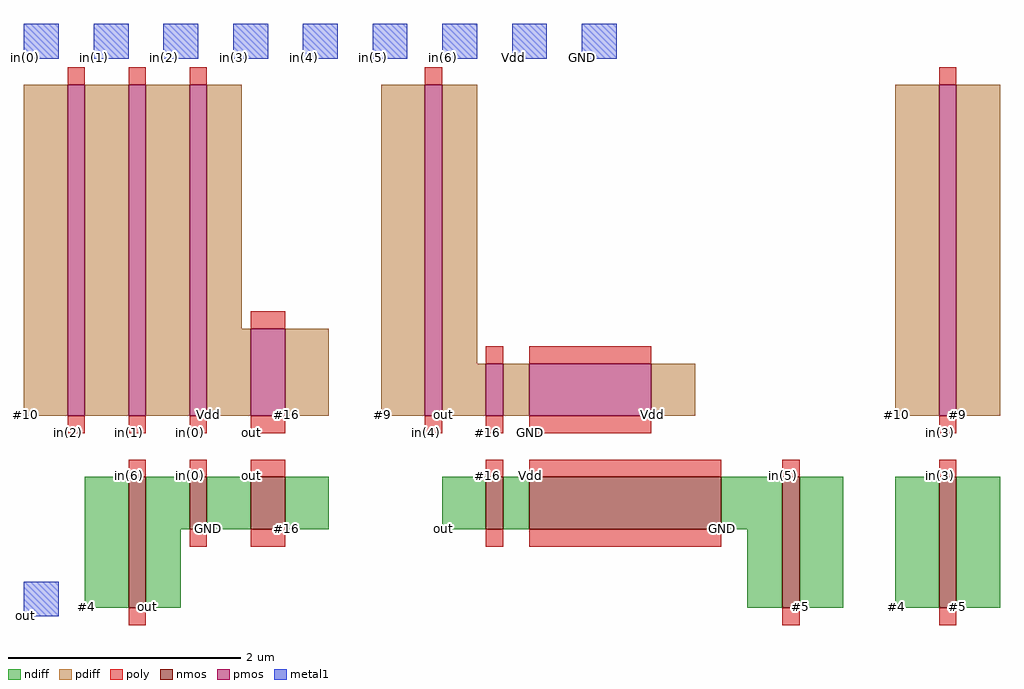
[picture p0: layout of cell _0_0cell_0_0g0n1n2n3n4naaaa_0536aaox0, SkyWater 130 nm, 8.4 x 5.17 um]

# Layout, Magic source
magic
tech sky130A
magscale 1 2
<< nmos >>
rect 300 75 330 300
rect 405 210 435 300
rect 510 210 570 300
rect 915 210 945 300
rect 990 210 1320 300
rect 1425 75 1455 300
rect 1695 75 1725 300
<< pmos >>
rect 195 405 225 975
rect 300 405 330 975
rect 405 405 435 975
rect 510 405 570 555
rect 810 405 840 975
rect 915 405 945 495
rect 990 405 1200 495
rect 1695 405 1725 975
<< ndiff >>
rect 225 75 300 300
rect 330 210 405 300
rect 435 210 510 300
rect 570 210 645 300
rect 840 210 915 300
rect 945 210 990 300
rect 1320 210 1425 300
rect 330 75 390 210
rect 1365 75 1425 210
rect 1455 75 1530 300
rect 1620 75 1695 300
rect 1725 75 1800 300
<< pdiff >>
rect 120 405 195 975
rect 225 405 300 975
rect 330 405 405 975
rect 435 555 495 975
rect 435 405 510 555
rect 570 405 645 555
rect 735 405 810 975
rect 840 495 900 975
rect 840 405 915 495
rect 945 405 990 495
rect 1200 405 1275 495
rect 1620 405 1695 975
rect 1725 405 1800 975
<< poly >>
rect 195 975 225 1005
rect 300 975 330 1005
rect 405 975 435 1005
rect 810 975 840 1005
rect 1695 975 1725 1005
rect 510 555 570 585
rect 915 495 945 525
rect 990 495 1200 525
rect 195 375 225 405
rect 300 375 330 405
rect 405 375 435 405
rect 510 375 570 405
rect 810 375 840 405
rect 915 375 945 405
rect 990 375 1200 405
rect 1695 375 1725 405
rect 300 300 330 330
rect 405 300 435 330
rect 510 300 570 330
rect 915 300 945 330
rect 990 300 1320 330
rect 1425 300 1455 330
rect 1695 300 1725 330
rect 405 180 435 210
rect 510 180 570 210
rect 915 180 945 210
rect 990 180 1320 210
rect 300 45 330 75
rect 1425 45 1455 75
rect 1695 45 1725 75
<< metal1 >>
rect 120 1020 180 1080
rect 240 1020 300 1080
rect 360 1020 420 1080
rect 480 1020 540 1080
rect 600 1020 660 1080
rect 720 1020 780 1080
rect 840 1020 900 1080
rect 960 1020 1020 1080
rect 1080 1020 1140 1080
rect 120 60 180 120
<< labels >>
rlabel ndiff 572 212 572 212 3 #16
rlabel pdiff 572 407 572 407 3 #16
rlabel poly 512 302 512 302 3 out
rlabel ndiff 437 212 437 212 3 GND
rlabel poly 512 377 512 377 3 out
rlabel poly 407 302 407 302 3 in(0)
rlabel pdiff 437 407 437 407 3 Vdd
rlabel poly 407 377 407 377 3 in(0)
rlabel ndiff 332 77 332 77 3 out
rlabel poly 302 302 302 302 3 in(6)
rlabel poly 302 377 302 377 3 in(1)
rlabel ndiff 227 77 227 77 3 #4
rlabel poly 197 377 197 377 3 in(2)
rlabel pdiff 122 407 122 407 3 #10
rlabel poly 1427 302 1427 302 3 in(5)
rlabel pdiff 1202 407 1202 407 3 Vdd
rlabel ndiff 1457 77 1457 77 3 #5
rlabel ndiff 1322 212 1322 212 3 GND
rlabel poly 992 302 992 302 3 Vdd
rlabel poly 992 377 992 377 3 GND
rlabel poly 917 302 917 302 3 #16
rlabel poly 917 377 917 377 3 #16
rlabel ndiff 842 212 842 212 3 out
rlabel pdiff 842 407 842 407 3 out
rlabel poly 812 377 812 377 3 in(4)
rlabel pdiff 737 407 737 407 3 #9
rlabel ndiff 1727 77 1727 77 3 #5
rlabel pdiff 1727 407 1727 407 3 #9
rlabel poly 1697 302 1697 302 3 in(3)
rlabel poly 1697 377 1697 377 3 in(3)
rlabel ndiff 1622 77 1622 77 3 #4
rlabel pdiff 1622 407 1622 407 3 #10
rlabel metal1 1082 1022 1082 1022 3 GND
port 1 e
rlabel metal1 962 1022 962 1022 3 Vdd
port 2 e
rlabel metal1 842 1022 842 1022 3 in(6)
port 3 e
rlabel metal1 722 1022 722 1022 3 in(5)
port 4 e
rlabel metal1 602 1022 602 1022 3 in(4)
port 5 e
rlabel metal1 482 1022 482 1022 3 in(3)
port 6 e
rlabel metal1 362 1022 362 1022 3 in(2)
port 7 e
rlabel metal1 242 1022 242 1022 3 in(1)
port 8 e
rlabel metal1 122 62 122 62 3 out
port 9 e
rlabel metal1 122 1022 122 1022 3 in(0)
port 10 e
<< end >>
